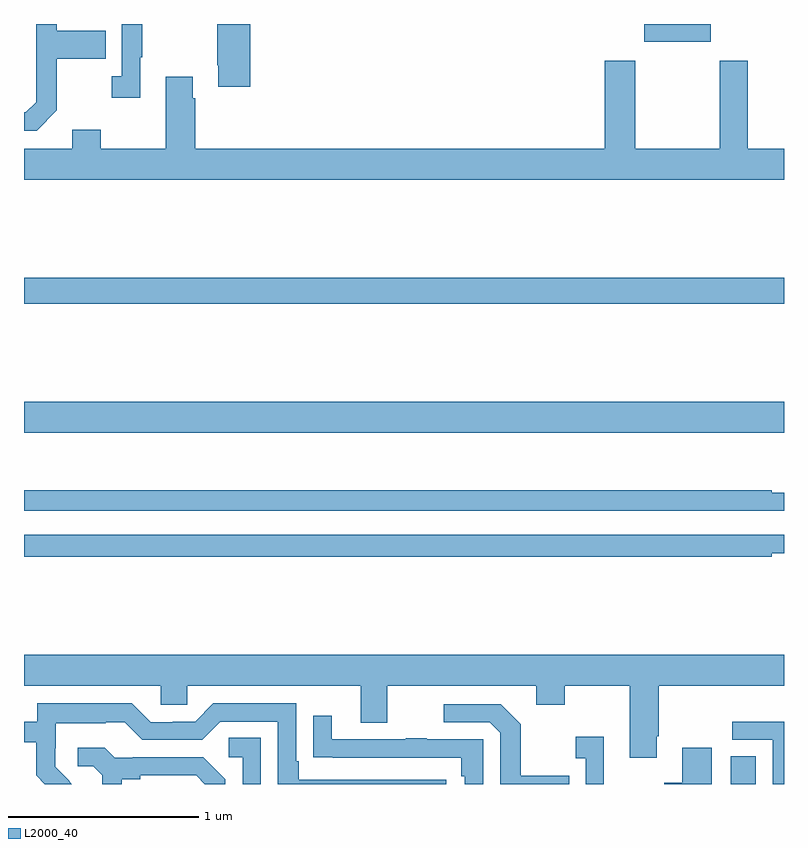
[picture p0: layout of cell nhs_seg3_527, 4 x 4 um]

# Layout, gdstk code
import gdstk
lib = gdstk.Library(unit=1e-6, precision=1e-09)
def R(c, l, rs):  # rectangles x0, y0, x1, y1
    for r in rs: c.add(gdstk.rectangle(r[:2], r[2:], *l))
def P(c, l, *ps):  # polygons
    for p in ps: c.add(gdstk.Polygon(p, *l))
L2000_40 = (2000, 40)

nhs_seg3_527 = lib.new_cell('nhs_seg3_527')
R(nhs_seg3_527, L2000_40, [(140.72,700.4,140.851,700.547), (137,702.248,141,702.412), (137,702.928,141,703.064), (140.264,704.306,140.614,704.4)])
P(nhs_seg3_527, L2000_40, [(137.611,704.225),(137.623,704.225),(137.623,704.4),(137.514,704.4),(137.514,704.126),(137.463,704.126),(137.463,704.013),(137.611,704.013)],
  [(137.173,703.945),(137.173,704.218),(137.429,704.218),(137.429,704.365),(137.173,704.365),(137.173,704.4),(137.064,704.4),(137.064,703.989),(137.01,703.935),(137,703.935),(137,703.839),(137.067,703.839)],
  [(138.191,704.4),(138.016,704.4),(138.016,704.182),(138.023,704.182),(138.023,704.07),(138.191,704.07)],
  [(141,703.744),(140.809,703.744),(140.809,704.206),(140.662,704.206),(140.662,703.744),(140.217,703.744),(140.217,704.206),(140.057,704.206),(140.057,703.744),(137.9,703.744),(137.9,704.009),(137.887,704.009),(137.887,704.122),(137.747,704.122),(137.747,703.744),(137.403,703.744),(137.403,703.843),(137.255,703.843),(137.255,703.744),(137,703.744),(137,703.58),(141,703.58)],
  [(141,701.934),(140.936,701.934),(140.936,701.947),(137,701.947),(137,701.838),(141,701.838)],
  [(140.936,701.615),(141,701.615),(141,701.712),(137,701.712),(137,701.596),(140.936,701.596)],
  [(140.329,700.651),(140.342,700.651),(140.342,700.916),(141,700.916),(141,701.08),(137,701.08),(137,700.916),(137.721,700.916),(137.721,700.818),(137.859,700.818),(137.859,700.916),(138.773,700.916),(138.773,700.722),(138.913,700.722),(138.913,700.916),(139.697,700.916),(139.697,700.817),(139.845,700.817),(139.845,700.916),(140.189,700.916),(140.189,700.539),(140.329,700.539)],
  [(137.237,700.415),(137.238,700.416),(137.164,700.49),(137.164,700.587),(137.166,700.587),(137.166,700.721),(137.429,700.721),(137.429,700.725),(137.529,700.725),(137.622,700.632),(137.937,700.632),(138.033,700.728),(138.336,700.728),(138.336,700.4),(139.222,700.4),(139.222,700.422),(138.445,700.422),(138.445,700.519),(138.432,700.519),(138.432,700.824),(137.997,700.824),(137.901,700.728),(137.783,700.728),(137.783,700.725),(137.667,700.725),(137.567,700.825),(137.07,700.825),(137.07,700.728),(137,700.728),(137,700.62),(137.065,700.62),(137.065,700.445),(137.11,700.4),(137.252,700.4)],
  [(139.871,700.443),(139.615,700.443),(139.615,700.715),(139.509,700.821),(139.209,700.821),(139.209,700.725),(139.452,700.725),(139.506,700.671),(139.506,700.4),(139.871,700.4)],
  [(139.416,700.635),(139.121,700.635),(139.121,700.64),(139.009,700.64),(139.009,700.635),(138.619,700.635),(138.619,700.759),(138.523,700.759),(138.523,700.54),(138.625,700.54),(138.625,700.539),(139.3,700.539),(139.3,700.442),(139.32,700.442),(139.32,700.4),(139.416,700.4)],
  [(141,700.728),(140.727,700.728),(140.727,700.632),(140.94,700.632),(140.94,700.4),(141,700.4)],
  [(140.052,700.648),(139.905,700.648),(139.905,700.535),(139.956,700.535),(139.956,700.4),(140.052,700.4)],
  [(138.246,700.643),(138.078,700.643),(138.078,700.542),(138.15,700.542),(138.15,700.4),(138.246,700.4)],
  [(137.515,700.424),(137.611,700.424),(137.611,700.446),(137.906,700.446),(137.952,700.4),(138.06,700.4),(138.06,700.426),(137.944,700.542),(137.572,700.542),(137.572,700.539),(137.478,700.539),(137.426,700.591),(137.283,700.591),(137.283,700.494),(137.364,700.494),(137.411,700.447),(137.411,700.4),(137.515,700.4)],
  [(140.62,700.591),(140.465,700.591),(140.465,700.406),(140.369,700.406),(140.369,700.4),(140.62,700.4)])

lib.write_gds('nhs_seg3_527.gds')
